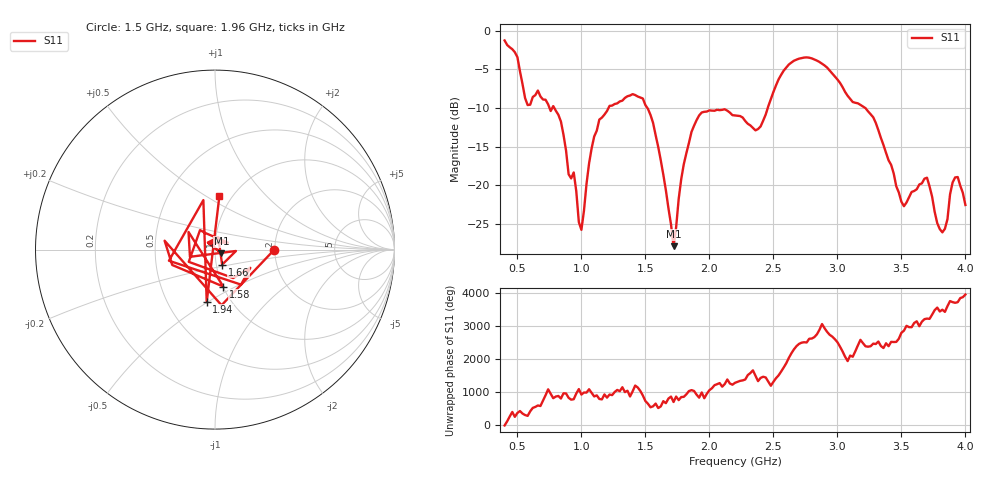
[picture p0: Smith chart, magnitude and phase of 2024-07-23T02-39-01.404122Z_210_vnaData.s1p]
!Created with skrf (http://scikit-rf.org).
# Hz S RI R 50.0
!freq ReS11 ImS11
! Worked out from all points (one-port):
!   181 points, 400 MHz to 4 GHz, reference 50 ohm
!   lowest |S11| = -27.9 dB at 1.72 GHz (marker M1), VSWR 1.08, Z = 53.6 - j2.11 ohm
!   |S11| at or under -10 dB: 788.3 MHz to 1.212 GHz (423.4 MHz wide, 42.3 % of centre); 1.515 GHz to 2.456 GHz (940.3 MHz wide, 47.4 % of centre); 3.218 GHz to end of sweep (the widest 3 of 4)
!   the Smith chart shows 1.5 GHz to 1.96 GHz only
!   S11 on the Smith chart (normalised r, x): 1.5 GHz: 1.99, -0.00; 1.58 GHz: 1.00, -0.43; 1.66 GHz: 1.07, -0.18; 1.94 GHz: 0.77, -0.50; 1.96 GHz: 0.88, +0.57
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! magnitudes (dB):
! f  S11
! 400 MHz  -1.3
! 500 MHz  -3.4
! 580 MHz  -9.6
! 660 MHz  -7.7
! 860 MHz  -13.5
! 940 MHz  -18.3
! 1 GHz  -25.8
! 1.1 GHz  -13.7
! 1.3 GHz  -9.1
! 1.5 GHz  -9.6
! 1.58 GHz  -13.5
! 1.66 GHz  -20.6
! 1.72 GHz  -27.9
! 1.76 GHz  -21.8
! 1.86 GHz  -13.1
! 1.94 GHz  -10.6
! 1.96 GHz  -10.5
! 2.2 GHz  -11.0
! 2.38 GHz  -12.7
! 2.66 GHz  -3.9
! 3.1 GHz  -8.8
! 3.28 GHz  -11.2
! 3.5 GHz  -22.1
! 3.56 GHz  -21.5
! 3.7 GHz  -19.0
! 3.82 GHz  -26.1
! 3.92 GHz  -19.0
! 4 GHz  -22.5
